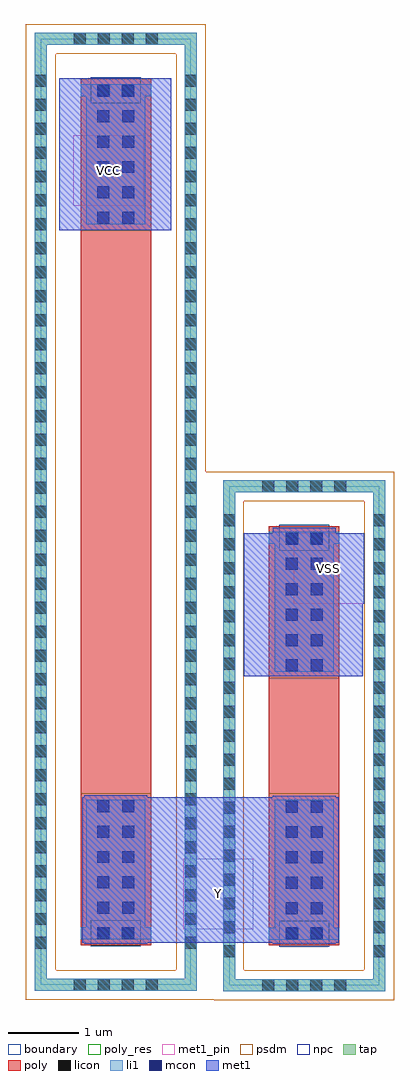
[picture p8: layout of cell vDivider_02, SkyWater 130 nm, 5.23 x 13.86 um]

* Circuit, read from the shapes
.subckt vDivider_02 VCC VSS Y
R1 VCC Y sky130_fd_pr__res_generic_po w=1 l=8
R2 VSS Y sky130_fd_pr__res_generic_po w=1 l=1.65
.ends

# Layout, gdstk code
import gdstk
lib = gdstk.Library(unit=1e-6, precision=1e-09)
def R(c, l, rs):  # rectangles x0, y0, x1, y1
    for r in rs: c.add(gdstk.rectangle(r[:2], r[2:], *l))
def A(c, l, x, y, w, h, nx, ny, dx, dy):  # array of equal rectangles
    R(c, l, [(x+i*dx, y+j*dy, x+i*dx+w, y+j*dy+h) for i in range(nx) for j in range(ny)])
tap = (65, 44)
poly_res = (66, 13)
poly = (66, 20)
licon = (66, 44)
li1 = (67, 20)
mcon = (67, 44)
met1_pin = (68, 16)
met1 = (68, 20)
psdm = (94, 20)
npc = (95, 20)
boundary = (235, 4)

sky130_fd_pr__res_generi = lib.new_cell('sky130_fd_pr__res_generic_po_FHUZEF')
R(sky130_fd_pr__res_generi, tap, [(-1.15,-6.8,1.15,-6.63), (-1.15,-6.63,-0.98,6.63), (0.98,-6.63,1.15,6.63), (-1.15,6.63,1.15,6.8)])
R(sky130_fd_pr__res_generi, poly_res, [(-0.5,-4,0.5,4)])
R(sky130_fd_pr__res_generi, poly, [(-0.5,-6.15,0.5,6.15)])
A(sky130_fd_pr__res_generi, licon, -0.595, -6.8, 0.17, 0.17, 4, 2, 0.34, 13.43)
A(sky130_fd_pr__res_generi, licon, -1.15, -6.205, 0.17, 0.17, 1, 37, 0, 0.34)
A(sky130_fd_pr__res_generi, licon, 0.98, -6.205, 0.17, 0.17, 1, 37, 0, 0.34)
R(sky130_fd_pr__res_generi, licon, [(-0.255,-6.07,-0.085,-5.9), (0.085,-6.07,0.255,-5.9), (-0.255,5.9,-0.085,6.07), (0.085,5.9,0.255,6.07)])
R(sky130_fd_pr__res_generi, li1, [(-1.15,-6.8,1.15,-6.63), (-1.15,-6.63,-0.98,6.63), (0.98,-6.63,1.15,6.63), (-0.5,-6.07,0.5,-5.9), (-0.42,-5.9,0.42,-4.085), (-0.42,4.085,0.42,5.9), (-0.5,5.9,0.5,6.07), (-1.15,6.63,1.15,6.8)])
A(sky130_fd_pr__res_generi, mcon, -0.265, -6.065, 0.17, 0.17, 1, 6, 0, 0.36)
A(sky130_fd_pr__res_generi, mcon, 0.095, -6.065, 0.17, 0.17, 1, 6, 0, 0.36)
A(sky130_fd_pr__res_generi, mcon, -0.265, 4.09, 0.17, 0.17, 1, 6, 0, 0.36)
A(sky130_fd_pr__res_generi, mcon, 0.095, 4.09, 0.17, 0.17, 1, 6, 0, 0.36)
R(sky130_fd_pr__res_generi, met1, [(-0.45,-6.13,0.45,-4.025), (-0.45,4.025,0.45,6.13)])
R(sky130_fd_pr__res_generi, psdm, [(-1.275,-6.925,1.275,-6.505), (-1.275,-6.505,-0.855,6.505), (0.855,-6.505,1.275,6.505), (-1.275,6.505,1.275,6.925)])
R(sky130_fd_pr__res_generi, npc, [(-0.355,-6.17,0.355,-5.8), (-0.355,5.8,0.355,6.17)])
R(sky130_fd_pr__res_generi, boundary, [(-1.065,-6.715,1.065,6.715)])

c_sky130_fd_pr__res_generi = lib.new_cell('sky130_fd_pr__res_generic_po_4WEV9M')
R(c_sky130_fd_pr__res_generi, tap, [(-1.15,-3.625,1.15,-3.455), (-1.15,-3.455,-0.98,3.455), (0.98,-3.455,1.15,3.455), (-1.15,3.455,1.15,3.625)])
R(c_sky130_fd_pr__res_generi, poly_res, [(-0.5,-0.825,0.5,0.825)])
R(c_sky130_fd_pr__res_generi, poly, [(-0.5,-2.975,0.5,2.975)])
A(c_sky130_fd_pr__res_generi, licon, -0.595, -3.625, 0.17, 0.17, 4, 2, 0.34, 7.08)
A(c_sky130_fd_pr__res_generi, licon, -1.15, -3.145, 0.17, 0.17, 1, 19, 0, 0.34)
A(c_sky130_fd_pr__res_generi, licon, 0.98, -3.145, 0.17, 0.17, 1, 19, 0, 0.34)
R(c_sky130_fd_pr__res_generi, licon, [(-0.255,-2.895,-0.085,-2.725), (0.085,-2.895,0.255,-2.725), (-0.255,2.725,-0.085,2.895), (0.085,2.725,0.255,2.895)])
R(c_sky130_fd_pr__res_generi, li1, [(-1.15,-3.625,1.15,-3.455), (-1.15,-3.455,-0.98,3.455), (0.98,-3.455,1.15,3.455), (-0.5,-2.895,0.5,-2.725), (-0.42,-2.725,0.42,-0.91), (-0.42,0.91,0.42,2.725), (-0.5,2.725,0.5,2.895), (-1.15,3.455,1.15,3.625)])
A(c_sky130_fd_pr__res_generi, mcon, -0.265, -2.89, 0.17, 0.17, 1, 6, 0, 0.36)
A(c_sky130_fd_pr__res_generi, mcon, 0.095, -2.89, 0.17, 0.17, 1, 6, 0, 0.36)
A(c_sky130_fd_pr__res_generi, mcon, -0.265, 0.915, 0.17, 0.17, 1, 6, 0, 0.36)
A(c_sky130_fd_pr__res_generi, mcon, 0.095, 0.915, 0.17, 0.17, 1, 6, 0, 0.36)
R(c_sky130_fd_pr__res_generi, met1, [(-0.45,-2.955,0.45,-0.85), (-0.45,0.85,0.45,2.955)])
R(c_sky130_fd_pr__res_generi, psdm, [(-1.275,-3.75,1.275,-3.33), (-1.275,-3.33,-0.855,3.33), (0.855,-3.33,1.275,3.33), (-1.275,3.33,1.275,3.75)])
R(c_sky130_fd_pr__res_generi, npc, [(-0.355,-2.995,0.355,-2.625), (-0.355,2.625,0.355,2.995)])
R(c_sky130_fd_pr__res_generi, boundary, [(-1.065,-3.54,1.065,3.54)])

vdivider_02 = lib.new_cell('vDivider_02')
R(vdivider_02, met1_pin, [(2.02,3.79,3.02,4.79), (3.59,8.41,4.59,9.41), (0.46,14.06,1.46,15.06)])
R(vdivider_02, met1, [(0.59,3.6,4.23,5.66), (2.88,7.38,4.57,8.41), (2.88,8.41,4.59,9.41), (0.26,13.71,1.85,15.87)])
R(vdivider_02, psdm, [(2.34,2.79,2.465,10.285)])
vdivider_02.add(gdstk.Reference(sky130_fd_pr__res_generi, (1.065,9.715)))
vdivider_02.add(gdstk.Reference(c_sky130_fd_pr__res_generi, (3.74,6.535)))
vdivider_02.add(gdstk.Label('VCC', (0.96,14.56), layer=68, texttype=5))
vdivider_02.add(gdstk.Label('VSS', (4.09,8.91), layer=68, texttype=5))
vdivider_02.add(gdstk.Label('Y', (2.52,4.29), layer=68, texttype=5))

lib.write_gds('vDivider_02.gds')
